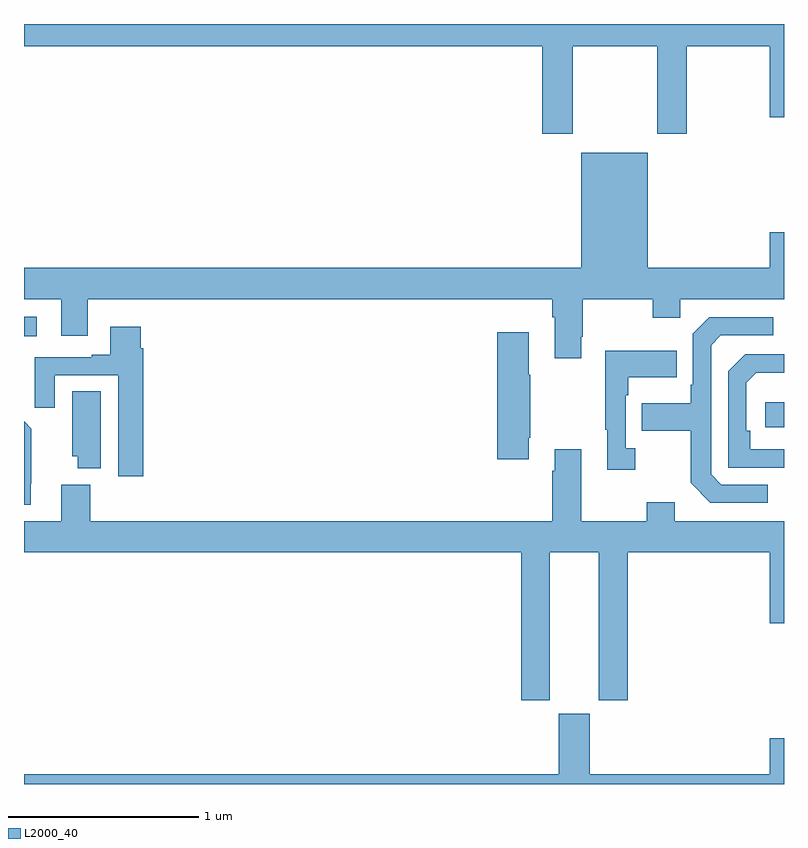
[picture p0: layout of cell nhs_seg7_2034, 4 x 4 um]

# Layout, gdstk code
import gdstk
lib = gdstk.Library(unit=1e-6, precision=1e-09)
def R(c, l, rs):  # rectangles x0, y0, x1, y1
    for r in rs: c.add(gdstk.rectangle(r[:2], r[2:], *l))
def P(c, l, *ps):  # polygons
    for p in ps: c.add(gdstk.Polygon(p, *l))
L2000_40 = (2000, 40)

nhs_seg7_2034 = lib.new_cell('nhs_seg7_2034')
R(nhs_seg7_2034, L2000_40, [(248.901,1063.878,249,1064.008), (245,1064.357,245.068,1064.458)])
P(nhs_seg7_2034, L2000_40, [(247.887,1065.884),(248.332,1065.884),(248.332,1065.423),(248.487,1065.423),(248.487,1065.884),(248.924,1065.884),(248.924,1065.51),(249,1065.51),(249,1066),(245,1066),(245,1065.884),(247.727,1065.884),(247.727,1065.423),(247.887,1065.423)],
  [(247.933,1064.353),(247.941,1064.353),(247.941,1064.552),(248.308,1064.552),(248.308,1064.453),(248.454,1064.453),(248.454,1064.552),(249,1064.552),(249,1064.905),(248.924,1064.905),(248.924,1064.716),(248.284,1064.716),(248.284,1065.322),(247.934,1065.322),(247.934,1064.716),(245,1064.716),(245,1064.552),(245.195,1064.552),(245.195,1064.358),(245.335,1064.358),(245.335,1064.552),(247.781,1064.552),(247.781,1064.456),(247.793,1064.456),(247.793,1064.241),(247.933,1064.241)],
  [(248.914,1063.575),(248.67,1063.575),(248.616,1063.629),(248.616,1064.31),(248.667,1064.361),(248.944,1064.361),(248.944,1064.457),(248.607,1064.457),(248.52,1064.37),(248.52,1064.101),(248.508,1064.101),(248.508,1064.005),(248.251,1064.005),(248.251,1063.858),(248.508,1063.858),(248.508,1063.585),(248.613,1063.479),(248.914,1063.479)],
  [(245.627,1064.294),(245.614,1064.294),(245.614,1064.407),(245.453,1064.407),(245.453,1064.26),(245.357,1064.26),(245.357,1064.247),(245.057,1064.247),(245.057,1063.98),(245.161,1063.98),(245.161,1064.151),(245.495,1064.151),(245.495,1063.62),(245.627,1063.62)],
  [(247.657,1063.822),(247.665,1063.822),(247.665,1064.153),(247.657,1064.153),(247.657,1064.377),(247.49,1064.377),(247.49,1063.71),(247.657,1063.71)],
  [(248.218,1063.766),(248.166,1063.766),(248.166,1064.045),(248.179,1064.045),(248.179,1064.141),(248.435,1064.141),(248.435,1064.281),(248.058,1064.281),(248.058,1063.865),(248.069,1063.865),(248.069,1063.653),(248.218,1063.653)],
  [(249,1063.761),(248.822,1063.761),(248.822,1063.858),(248.802,1063.858),(248.802,1064.112),(248.855,1064.165),(249,1064.165),(249,1064.262),(248.796,1064.262),(248.706,1064.172),(248.706,1063.665),(249,1063.665)],
  [(245.404,1064.066),(245.255,1064.066),(245.255,1063.725),(245.282,1063.725),(245.282,1063.661),(245.404,1063.661)],
  [(245.035,1063.579),(245.039,1063.579),(245.039,1063.87),(245,1063.909),(245,1063.469),(245.035,1063.469)],
  [(245.195,1063.576),(245.195,1063.384),(245,1063.384),(245,1063.22),(247.616,1063.22),(247.616,1062.441),(247.768,1062.441),(247.768,1063.22),(248.024,1063.22),(248.024,1062.441),(248.177,1062.441),(248.177,1063.22),(248.924,1063.22),(248.924,1062.846),(249,1062.846),(249,1063.384),(248.425,1063.384),(248.425,1063.483),(248.278,1063.483),(248.278,1063.384),(247.933,1063.384),(247.933,1063.762),(247.793,1063.762),(247.793,1063.649),(247.781,1063.649),(247.781,1063.384),(245.348,1063.384),(245.348,1063.576)],
  [(249,1062.241),(248.924,1062.241),(248.924,1062.052),(247.978,1062.052),(247.978,1062.369),(247.814,1062.369),(247.814,1062.052),(245,1062.052),(245,1062),(249,1062)])

lib.write_gds('nhs_seg7_2034.gds')
